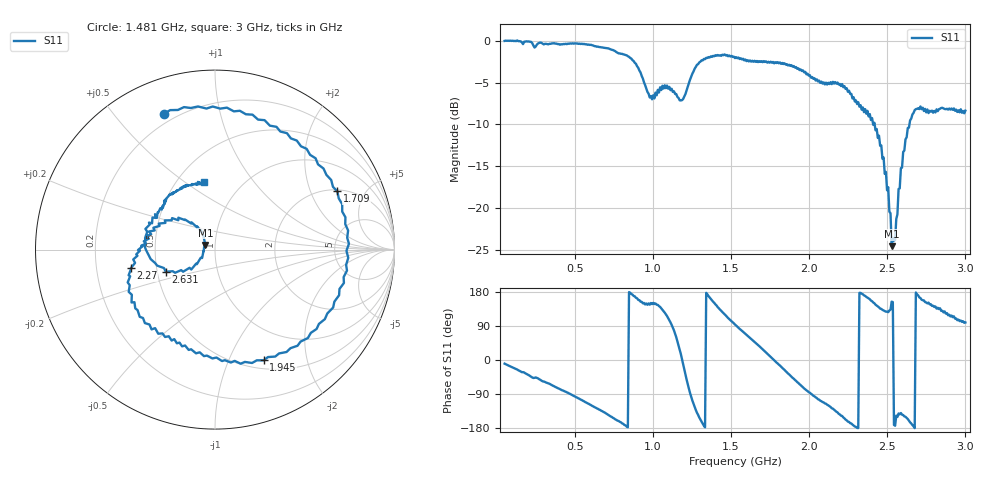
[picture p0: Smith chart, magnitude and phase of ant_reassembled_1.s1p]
! nanovna_capture.py 2026-11-02T23:19:30+0900
! NanoVNA-F_V2 fw 0.6.0 SN 4A3639384505514B
! cal: load open short cal'ed  over 50000000-3000000000 Hz, 201 points
! points 401, avg 4
! implant antenna, Nano X fully reassembled (battery + both boards) after the disassembly captures, same coax routing
# HZ S RI R 50
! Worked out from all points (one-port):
!   401 points, 50 MHz to 3 GHz, reference 50 ohm
!   lowest |S11| = -24.6 dB at 2.528 GHz (marker M1), VSWR 1.13, Z = 44.9 + j2.34 ohm
!   |S11| at or under -10 dB: 2.409387 GHz to 2.411936 GHz (2.548 MHz wide, 0.106 % of centre); 2.419 GHz to 2.642 GHz (223 MHz wide, 8.81 % of centre)
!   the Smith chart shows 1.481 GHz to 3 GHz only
!   S11 on the Smith chart (normalised r, x): 1.481 GHz: 0.16, +0.68; 1.709 GHz: 2.08, +3.14; 1.945 GHz: 0.60, -1.35; 2.27 GHz: 0.35, -0.10; 2.631 GHz: 0.55, -0.15; 3 GHz: 0.68, +0.60
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5e7  0.9837 -0.1669
2.1225e8  0.7323 -0.6606
4.1875e8  0.1657 -0.937
5.88375e8  -0.4102 -0.8556
7.875e8  -0.8037 -0.2435
9.055e8  -0.6418 0.2516
1.060375e9  -0.3666 0.394
1.119375e9  -0.0255 0.5155
1.15625e9  0.3009 0.3498
1.2005e9  0.4196 -0.1986
1.252125e9  -0.187 -0.6076
1.296375e9  -0.6544 -0.3503
1.340625e9  -0.7889 0.0379
1.48075e9  -0.2864 0.7554
1.525e9  -0.0476 0.7858
1.709375e9  0.6818 0.3245
1.797875e9  0.7354 -0.1167
1.89375e9  0.4769 -0.5125
1.945375e9  0.2713 -0.6167
2.137125e9  -0.3162 -0.4685
2.2625e9  -0.4687 -0.11
2.269875e9  -0.4694 -0.1041
2.446875e9  -0.2041 0.1777
2.528e9  -0.053 0.026
2.550125e9  -0.064 -0.00734
2.63125e9  -0.2744 -0.1234
2.697625e9  -0.3893 0.0654
3e9  -0.0598 0.3771
